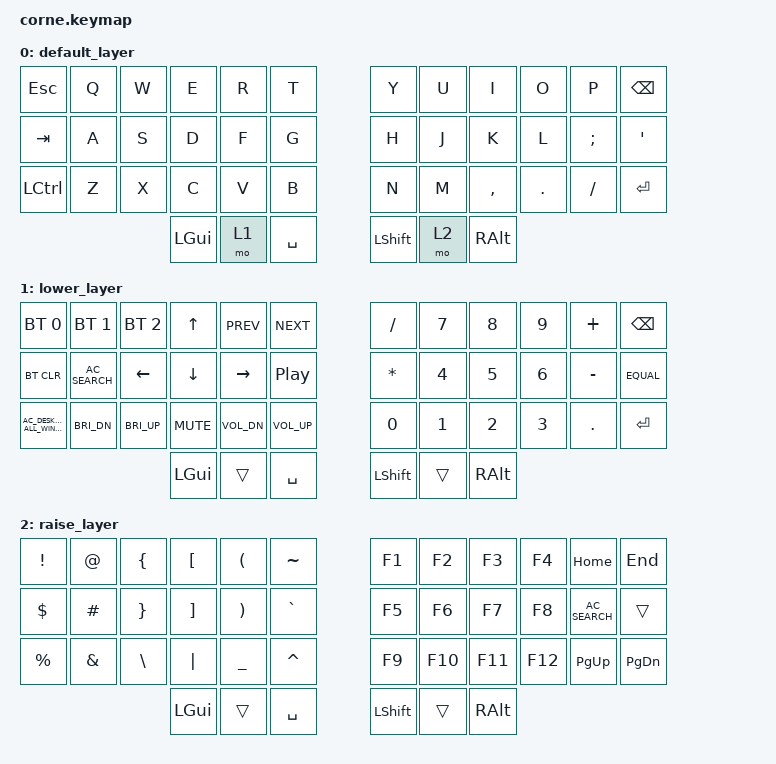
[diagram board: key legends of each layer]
/*
 * Copyright (c) 2020 The ZMK Contributors
 *
 * SPDX-License-Identifier: MIT
 */

#include <behaviors.dtsi>
#include <dt-bindings/zmk/keys.h>
#include <dt-bindings/zmk/bt.h>

/ {
        keymap {
                compatible = "zmk,keymap";

                default_layer {
// -------------------------------------------------------------------------------------------
// | ESC  |  Q   |  W   |  E   |  R   |  T   |   |  Y   |  U   |  I   |  O   |  P   | BKSP |
// | TAB  |  A   |  S   |  D   |  F   |  G   |   |  H   |  J   |  K   |  L   |  ;   |   '  |
// | CTRL |  Z   |  X   |  C   |  V   |  B   |   |  N   |  M   |  ,   |  .   |  /   |  ENT |
//                       | GUI | LWR  | SPC  |   |SHIFT | RSE  | ALT  |
                        bindings = <
   &kp ESC          &kp Q &kp W &kp E &kp R &kp T   &kp Y &kp U  &kp I     &kp O   &kp P    &kp BSPC
   &kp TAB          &kp A &kp S &kp D &kp F &kp G   &kp H &kp J  &kp K     &kp L   &kp SEMI &kp SQT
   &kp LEFT_CONTROL &kp Z &kp X &kp C &kp V &kp B   &kp N &kp M  &kp COMMA &kp DOT &kp FSLH &kp ENTER
                         &kp LGUI &mo 1 &kp SPACE   &kp LEFT_SHIFT &mo 2 &kp RALT
                        >;
                };
                lower_layer {
// -----------------------------------------------------------------------------------------
// |  BT1 | BT2  | BT3  |  UP  | PREV | NEXT |   |  /   |  7   |  8   |  9   |  +   | BKSP |
// |BTCLR | SRCH | LFT  | DWN  | RGT  | PLAY |   |  *   |  4   |  5   |  6   |  -   |  =   |
// | APPS |BRIDN |BRIUP | MUTE |VOLDN |VOLUP |   |  0   |  1   |  2   |  3   |  .   | ENT  |
//                      | GUI  |      | SPC  |   |SHIFT |      | ALT  |
                        bindings = <
   &bt BT_SEL 0                      &bt BT_SEL 1    &bt BT_SEL 2 &kp UP     &kp C_PREV   &kp C_NEXT         &kp SLASH &kp N7 &kp N8 &kp N9 &kp PLUS  &kp BSPC
   &bt BT_CLR                        &kp C_AC_SEARCH &kp LEFT     &kp DOWN   &kp RIGHT    &kp C_PLAY_PAUSE   &kp ASTRK &kp N4 &kp N5 &kp N6 &kp MINUS &EQUAL
   &kp C_AC_DESKTOP_SHOW_ALL_WINDOWS &kp C_BRI_DN    &kp C_BRI_UP &kp K_MUTE &kp C_VOL_DN &kp C_VOL_UP       &kp N0    &kp N1 &kp N2 &kp N3 &kp DOT   &kp ENTER
                                                                              &kp LGUI &trans &kp SPACE      &kp LEFT_SHIFT &trans &kp RALT
                        >;
                };

                raise_layer {
// -----------------------------------------------------------------------------------------
// |  !   |  @   |  {}  |  []  |  ()  |  ~   |   |  F1  |  F2  |  F3  |  F4  | HOME | END  |
// |  $   |  #   |  {}  |  []  |  ()  |  `   |   |  F5  |  F6  |  F7  |  F8  | SRCH |  `   |
// |  %   |  &   |  \   | "|"  |  _   |  ^   |   |  F9  | F10  | F11  | F12  | PGUP | PGDN |
//                      | GUI  |      | SPC  |   |SHIFT |      | ALT  |
                        bindings = <
   &kp EXCL    &kp AT        &kp LEFT_BRACE  &kp LEFT_BRACKET  &kp LEFT_PARENTHESIS  &kp TILDE   &kp F1 &kp F2  &kp F3  &kp F4  &kp HOME        &kp END
   &kp DOLLAR  &kp HASH      &kp RIGHT_BRACE &kp RIGHT_BRACKET &kp RIGHT_PARENTHESIS &kp GRAVE   &kp F5 &kp F6  &kp F7  &kp F8  &kp C_AC_SEARCH &trans
   &kp PERCENT &kp AMPERSAND &kp BACKSLASH   &kp PIPE          &kp UNDERSCORE        &kp CARET   &kp F9 &kp F10 &kp F11 &kp F12 &kp PAGE_UP     &kp PAGE_DOWN
                                                                     &kp LGUI &trans &kp SPACE   &kp LEFT_SHIFT &trans &kp RALT
                        >;
                };
        };
};
